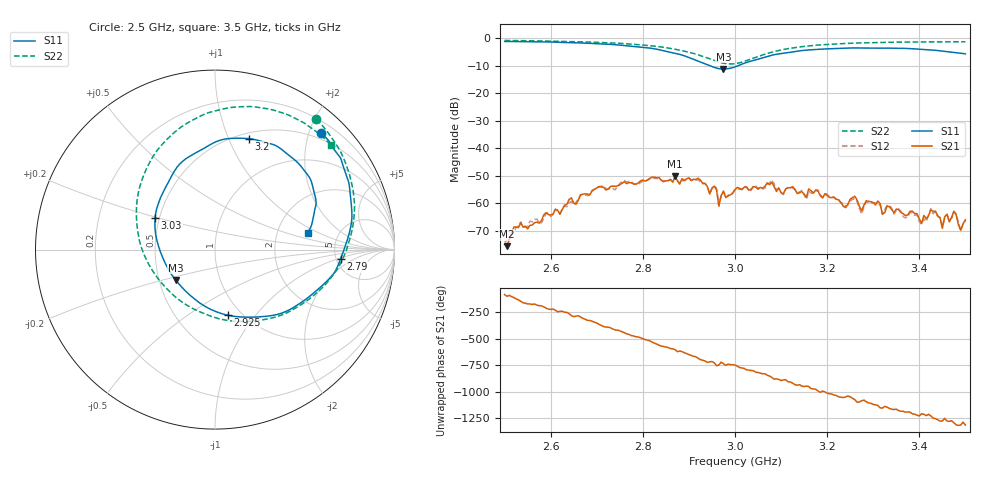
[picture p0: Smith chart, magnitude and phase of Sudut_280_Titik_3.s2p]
# Hz S RI R 50
! CMT, C1220, 16058040, 17.2.0/1
! Date: 15/08/2018 10:44:23
! Data: Format (Calibration Info)
! Freq  S11: Re/Im (F2)  S21: Re/Im (F2)  S12: Re/Im (F2)  S22: Re/Im (F2)
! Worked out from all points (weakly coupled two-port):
!   201 points, 2.5 GHz to 3.5 GHz, reference 50 ohm
!   highest |S21| = -50.17 dB at 2.87 GHz (marker M1); lowest = -75.6 dB at 2.505 GHz (marker M2)
!   lowest |S11| = -11.1 dB at 2.975 GHz (marker M3), VSWR 1.77, Z = 30.4 - j11.2 ohm
!   |S11| at or under -10 dB: 2.947 GHz to 3.006 GHz (58.45 MHz wide, 1.96 % of centre)
!   |S22| runs from -9.3 to -0.7 dB; largest |S21 - S12| = 0.0003
!   S11 on the Smith chart (normalised r, x): 2.5 GHz: 0.38, +2.21; 2.79 GHz: 5.45, -1.13; 2.925 GHz: 0.86, -0.73; 3.03 GHz: 0.47, +0.19; 3.2 GHz: 0.56, +1.19; 3.5 GHz: 2.99, +0.77
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2.5e9  0.5925 0.6522  2.29e-05 -0.000175  3.45e-05 -0.000193  0.5635 0.7259
2.505e9  0.5991 0.644  -2.58e-05 -0.000164  -4.28e-05 -0.000209  0.5694 0.7203
2.52e9  0.6213 0.6204  -0.000134 -0.000343  -8.65e-05 -0.000294  0.5865 0.7034
2.67e9  0.7499 0.3437  0.000889 0.00117  0.000933 0.00112  0.7377 0.4531
2.79e9  0.6993 -0.0527  -0.0013 -0.00194  -0.0013 -0.00179  0.7635 0.1078
2.835e9  0.5887 -0.2079  -0.00275 0.00106  -0.00268 0.000877  0.7049 -0.0659
2.87e9  0.4196 -0.3327  -0.00139 0.00278  -0.00132 0.00279  0.6002 -0.2101
2.925e9  0.0698 -0.3654  0.00244 0.00102  0.00217 0.00106  0.2982 -0.385
2.96e9  -0.1434 -0.2508  0.00145 -0.000992  0.00161 -0.000975  0.0194 -0.3846
2.965e9  -0.171 -0.2243  0.000778 -0.00043  0.000816 -0.000396  -0.0215 -0.3716
2.975e9  -0.2195 -0.1698  0.0016 -0.000436  0.00158 -0.000502  -0.0997 -0.34
3e9  -0.3032 -0.0151  0.00156 -0.000857  0.00148 -0.000965  -0.2751 -0.211
3.03e9  -0.3339 0.1741  0.000406 -0.00169  0.000373 -0.00164  -0.409 0.00837
3.17e9  0.0889 0.6195  -0.000448 0.00148  -0.000592 0.0014  -0.0899 0.7399
3.2e9  0.1893 0.6183  0.00058 0.00126  0.000679 0.0013  0.0199 0.777
3.275e9  0.3789 0.5516  0.000734 -7.35e-05  0.00064 -3.06e-05  0.2504 0.7916
3.335e9  0.4903 0.4498  0.000173 -0.00085  0.000136 -0.000904  0.3922 0.756
3.405e9  0.5556 0.3057  -0.000271 -0.000334  -0.000318 -0.000271  0.5192 0.6891
3.435e9  0.5601 0.2381  -0.000715 -6.44e-05  -0.000699 -3.73e-05  0.5636 0.6573
3.45e9  0.5529 0.2051  -0.000335 0.000101  -0.000376 7.96e-05  0.5855 0.6405
3.475e9  0.5394 0.1409  -0.000598 0.000393  -0.00057 0.000429  0.616 0.6129
3.5e9  0.5166 0.0931  -0.000287 0.00041  -0.00027 0.000403  0.6449 0.5835
